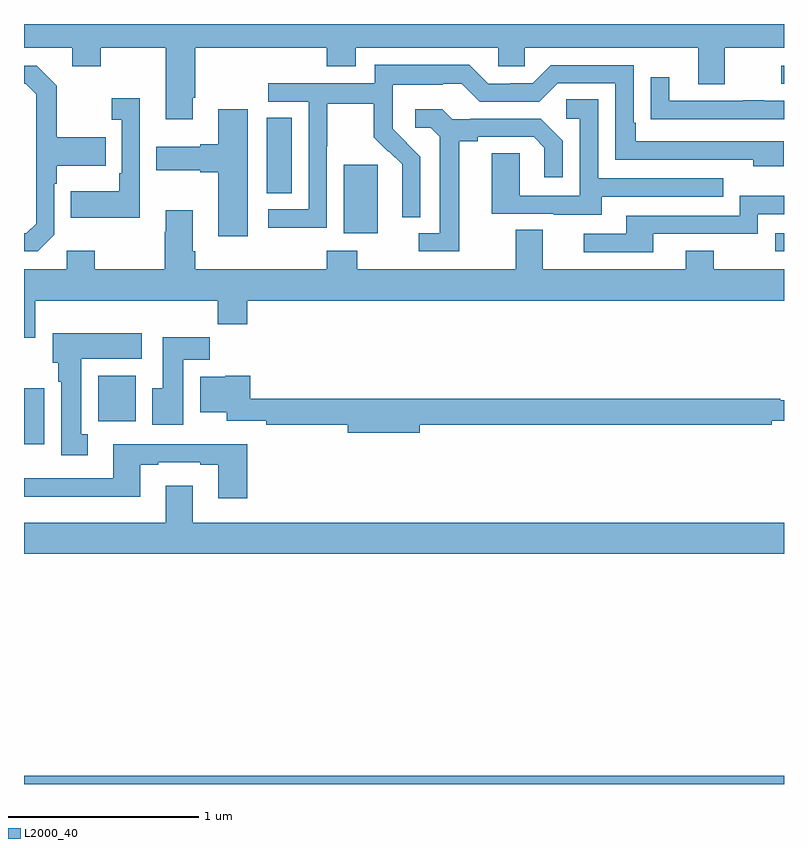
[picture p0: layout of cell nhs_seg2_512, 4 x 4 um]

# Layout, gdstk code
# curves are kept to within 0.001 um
import gdstk
lib = gdstk.Library(unit=1e-6, precision=1e-09)
def R(c, l, rs):  # rectangles x0, y0, x1, y1
    for r in rs: c.add(gdstk.rectangle(r[:2], r[2:], *l))
def P(c, l, *ps):  # polygons
    for p in ps: c.add(gdstk.Polygon(p, *l))
L2000_40 = (2000, 40)

nhs_seg2_512 = lib.new_cell('nhs_seg2_512')
R(nhs_seg2_512, L2000_40, [(137,603.8,141,603.844), (137,605.588,137.107,605.884), (137.39,605.708,137.587,605.95), (140.955,606.603,141,606.699), (138.683,606.698,138.862,607.059), (138.278,606.91,138.409,607.307), (140.985,607.485,141,607.581)])
P(nhs_seg2_512, L2000_40, [(137.887,607.411),(137.9,607.411),(137.9,607.676),(138.593,607.676),(138.593,607.577),(138.745,607.577),(138.745,607.676),(139.497,607.676),(139.497,607.578),(139.635,607.578),(139.635,607.676),(140.549,607.676),(140.549,607.482),(140.689,607.482),(140.689,607.676),(141,607.676),(141,607.8),(137,607.8),(137,607.676),(137.255,607.676),(137.255,607.577),(137.403,607.577),(137.403,607.676),(137.747,607.676),(137.747,607.299),(137.887,607.299)],
  [(138.594,607.156),(138.597,607.156),(138.597,607.38),(138.841,607.38),(138.841,607.205),(138.918,607.128),(138.921,607.131),(138.992,607.061),(138.992,606.938),(138.99,606.938),(138.99,606.784),(139.086,606.784),(139.086,607.102),(138.94,607.25),(138.94,607.347),(138.942,607.347),(138.942,607.481),(139.205,607.481),(139.205,607.485),(139.305,607.485),(139.398,607.392),(139.713,607.392),(139.809,607.488),(140.112,607.488),(140.112,607.086),(140.837,607.086),(140.837,607.052),(140.998,607.052),(140.998,607.182),(140.221,607.182),(140.221,607.279),(140.208,607.279),(140.208,607.584),(139.773,607.584),(139.677,607.488),(139.559,607.488),(139.559,607.485),(139.443,607.485),(139.343,607.585),(138.846,607.585),(138.846,607.488),(138.285,607.488),(138.285,607.392),(138.498,607.392),(138.498,606.825),(138.285,606.825),(138.285,606.727),(138.594,606.727)],
  [(137.16,606.69),(137.16,606.959),(137.173,606.959),(137.173,607.055),(137.429,607.055),(137.429,607.203),(137.173,607.203),(137.173,607.475),(137.067,607.581),(137,607.581),(137,607.485),(137.01,607.485),(137.064,607.431),(137.064,606.75),(137.013,606.699),(137,606.699),(137,606.603),(137.073,606.603)],
  [(141,607.395),(140.897,607.395),(140.897,607.4),(140.785,607.4),(140.785,607.395),(140.395,607.395),(140.395,607.519),(140.299,607.519),(140.299,607.3),(140.401,607.3),(140.401,607.299),(141,607.299)],
  [(137.61,607.408),(137.463,607.408),(137.463,607.295),(137.514,607.295),(137.514,607.015),(137.502,607.015),(137.502,606.919),(137.245,606.919),(137.245,606.779),(137.61,606.779)],
  [(140.041,606.891),(140.681,606.891),(140.681,606.987),(140.022,606.987),(140.022,607.403),(139.854,607.403),(139.854,607.302),(139.926,607.302),(139.926,606.897),(139.608,606.897),(139.608,607.121),(139.463,607.121),(139.463,606.801),(139.787,606.801),(139.787,606.797),(140.041,606.797)],
  [(138.178,607.351),(138.023,607.351),(138.023,607.166),(137.927,607.166),(137.927,607.153),(137.697,607.153),(137.697,607.031),(137.927,607.031),(137.927,607.019),(138.023,607.019),(138.023,606.684),(138.178,606.684)],
  [(139.291,607.184),(139.387,607.184),(139.387,607.206),(139.682,607.206),(139.739,607.149),(139.739,606.993),(139.836,606.993),(139.836,607.186),(139.72,607.302),(139.348,607.302),(139.348,607.299),(139.254,607.299),(139.202,607.351),(139.059,607.351),(139.059,607.254),(139.14,607.254),(139.187,607.207),(139.187,606.699),(139.077,606.699),(139.077,606.603),(139.291,606.603)],
  [(140.311,606.696),(140.862,606.696),(140.862,606.798),(141,606.798),(141,606.895),(140.766,606.895),(140.766,606.792),(140.171,606.792),(140.171,606.696),(139.947,606.696),(139.947,606.6),(140.311,606.6)],
  [(137.059,606.344),(138.019,606.344),(138.019,606.22),(138.176,606.22),(138.176,606.344),(141,606.344),(141,606.508),(140.631,606.508),(140.631,606.607),(140.483,606.607),(140.483,606.508),(139.729,606.508),(139.729,606.716),(139.589,606.716),(139.589,606.508),(138.753,606.508),(138.753,606.607),(138.593,606.607),(138.593,606.508),(137.9,606.508),(137.9,606.604),(137.887,606.604),(137.887,606.82),(137.747,606.82),(137.747,606.707),(137.74,606.707),(137.74,606.508),(137.373,606.508),(137.373,606.607),(137.226,606.607),(137.226,606.508),(137,606.508),(137,606.15),(137.059,606.15)],
  [(137.335,605.642),(137.302,605.642),(137.302,606.038),(137.62,606.038),(137.62,606.172),(137.15,606.172),(137.15,606.018),(137.18,606.018),(137.18,605.918),(137.195,605.918),(137.195,605.529),(137.335,605.529)],
  [(137.839,606.032),(137.978,606.032),(137.978,606.151),(137.729,606.151),(137.729,605.884),(137.675,605.884),(137.675,605.691),(137.839,605.691)],
  [(139.084,605.692),(140.936,605.692),(140.936,605.711),(141,605.711),(141,605.821),(140.98,605.821),(140.98,605.828),(138.191,605.828),(138.191,605.95),(138.06,605.95),(138.06,605.944),(137.927,605.944),(137.927,605.756),(138.068,605.756),(138.068,605.712),(138.274,605.712),(138.274,605.692),(138.704,605.692),(138.704,605.65),(139.084,605.65)],
  [(138.176,605.589),(137.471,605.589),(137.471,605.409),(137,605.409),(137,605.312),(137.611,605.312),(137.611,605.481),(137.707,605.481),(137.707,605.493),(137.927,605.493),(137.927,605.481),(138.023,605.481),(138.023,605.304),(138.176,605.304)],
  [(141,605.176),(137.887,605.176),(137.887,605.371),(137.747,605.371),(137.747,605.176),(137,605.176),(137,605.012),(141,605.012)])

lib.write_gds('nhs_seg2_512.gds')
